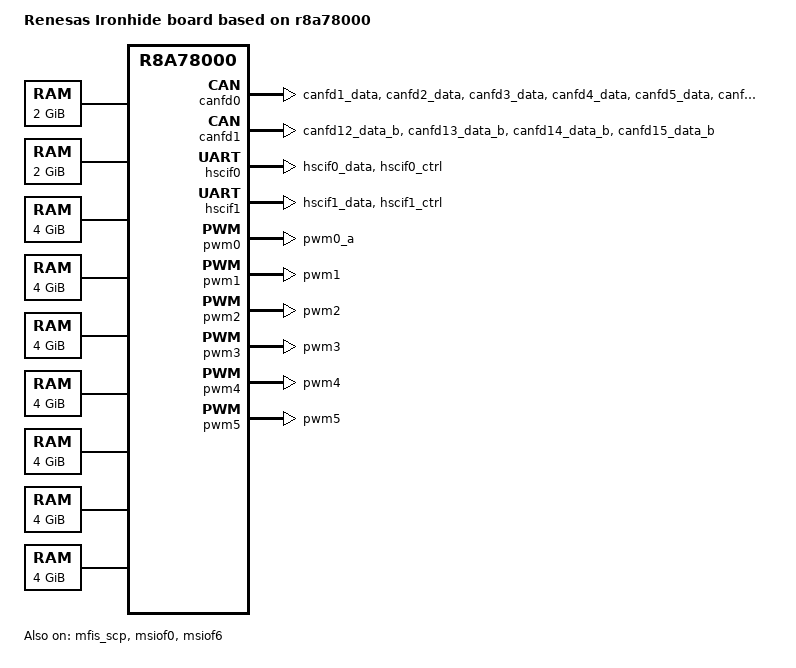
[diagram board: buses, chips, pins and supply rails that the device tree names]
// SPDX-License-Identifier: (GPL-2.0-only OR BSD-2-Clause)
/*
 * Device Tree Source for the Ironhide board
 *
 * Copyright (C) 2025 Renesas Electronics Corp.
 */

/dts-v1/;
#include <dt-bindings/soc/renesas,r8a78000-mfis.h>
#include "r8a78000.dtsi"

/ {
	model = "Renesas Ironhide board based on r8a78000";
	compatible = "renesas,ironhide", "renesas,r8a78000";

	aliases {
		serial0 = &hscif0;
		serial1 = &hscif1;
	};

	chosen {
		stdout-path = "serial0:1843200n8";
	};

	firmware {
		scmi: scmi {
			compatible = "arm,scmi";
			mboxes = <&mfis_scp 2 MFIS_CHANNEL_TX>,
				 <&mfis_scp 2 MFIS_CHANNEL_RX>;
			mbox-names = "tx", "rx";
			shmem = <&scmi_tx_shmem>, <&scmi_rx_shmem>;
			arm,no-completion-irq;
			#address-cells = <1>;
			#size-cells = <0>;

			scmi_devpd: protocol@11 {
				reg = <0x11>;
				#power-domain-cells = <1>;
			};

			scmi_sys: protocol@12 {
				reg = <0x12>;
			};

			scmi_clk: protocol@14 {
				reg = <0x14>;
				#clock-cells = <1>;
			};

			scmi_reset: protocol@16 {
				reg = <0x16>;
				#reset-cells = <1>;
			};
		};
	};

	memory@40000000 {
		device_type = "memory";
		reg = <0x0 0x40000000 0x0 0x80000000>;
	};

	memory@1080000000 {
		device_type = "memory";
		reg = <0x10 0x80000000 0x0 0x80000000>;
	};

	memory@1200000000 {
		device_type = "memory";
		reg = <0x12 0x00000000 0x1 0x00000000>;
	};

	memory@1400000000 {
		device_type = "memory";
		reg = <0x14 0x00000000 0x1 0x00000000>;
	};

	memory@1600000000 {
		device_type = "memory";
		reg = <0x16 0x00000000 0x1 0x00000000>;
	};

	memory@1800000000 {
		device_type = "memory";
		reg = <0x18 0x00000000 0x1 0x00000000>;
	};

	memory@1a00000000 {
		device_type = "memory";
		reg = <0x1a 0x00000000 0x1 0x00000000>;
	};

	memory@1c00000000 {
		device_type = "memory";
		reg = <0x1c 0x00000000 0x1 0x00000000>;
	};

	memory@1e00000000 {
		device_type = "memory";
		reg = <0x1e 0x00000000 0x1 0x00000000>;
	};

	reserved-memory {
		#address-cells = <2>;
		#size-cells = <2>;
		ranges;

		/* First 518 MiB is reserved for other purposes. */
		firmware@40000000 {
			reg = <0x0 0x40000000 0x0 0x20600000>;
			no-map;
		};

		/* Parameters set by IPL. */
		parameters@8c100000 {
			reg = <0x0 0x8c100000 0x0 0x00008000>;
			no-map;
		};

		/* TFA BL31. */
		tfa-bl31@8c200000 {
			reg = <0x0 0x8c200000 0x0 0x00080000>;
			no-map;
		};

		/* TEE TZ DRAM. */
		tee@8c400000 {
			reg = <0x0 0x8c400000 0x0 0x02000000>;
			no-map;
		};

		/* DRAM controller inline ECC areas */
		ecc@10cccc0000 {
			reg = <0x10 0xcccc0000 0x0 0x33340000>;
			no-map;
		};

		ecc@12cccc0000 {
			reg = <0x12 0xcccc0000 0x0 0x33340000>;
			no-map;
		};

		ecc@14cccc0000 {
			reg = <0x14 0xcccc0000 0x0 0x33340000>;
			no-map;
		};

		ecc@16cccc0000 {
			reg = <0x16 0xcccc0000 0x0 0x33340000>;
			no-map;
		};

		ecc@18cccc0000 {
			reg = <0x18 0xcccc0000 0x0 0x33340000>;
			no-map;
		};

		ecc@1acccc0000 {
			reg = <0x1a 0xcccc0000 0x0 0x33340000>;
			no-map;
		};

		ecc@1ccccc0000 {
			reg = <0x1c 0xcccc0000 0x0 0x33340000>;
			no-map;
		};

		ecc@1ecccc0000 {
			reg = <0x1e 0xcccc0000 0x0 0x33340000>;
			no-map;
		};
	};
};

&can_clk {
	clock-frequency = <40000000>;
};

&canfd0 {
	pinctrl-0 = <&canfd1_pins>,  <&canfd2_pins>, <&canfd3_pins>,
		    <&canfd4_pins>, <&canfd5_pins>, <&canfd6_pins>;
	pinctrl-names = "default";

	status = "okay";

	channel1 {
		status = "okay";
	};

	channel2 {
		status = "okay";
	};

	channel3 {
		status = "okay";
	};

	channel4 {
		status = "okay";
	};

	channel5 {
		status = "okay";
	};

	channel6 {
		status = "okay";
	};
};

&canfd1 {
	pinctrl-0 = <&canfd12_pins>, <&canfd13_pins>,  <&canfd14_pins>,
		    <&canfd15_pins>;
	pinctrl-names = "default";

	status = "okay";

	channel4 {
		status = "okay";
	};

	channel5 {
		status = "okay";
	};

	channel6 {
		status = "okay";
	};

	channel7 {
		status = "okay";
	};
};

&extal_clk {
	clock-frequency = <16666600>;
};

&extalr_clk {
	clock-frequency = <32768>;
};

&hscif0 {
	pinctrl-0 = <&hscif0_pins>;
	pinctrl-names = "default";

	uart-has-rtscts;
	status = "okay";
};

&hscif1 {
	pinctrl-0 = <&hscif1_pins>;
	pinctrl-names = "default";

	uart-has-rtscts;
	status = "okay";
};

&mfis_scp {
	status = "okay";
};

&msiof0 {
	pinctrl-0 = <&msiof0_pins>;
	pinctrl-names = "default";

	status = "okay";
};

&msiof6 {
	pinctrl-0 = <&msiof6_pins>;
	pinctrl-names = "default";

	status = "okay";	// Mutually-exclusive with MAX96726A U136
};

&pfc {
	pinctrl-0 = <&can_clk_pins>, <&scif_clk_pins>;
	pinctrl-names = "default";

	can_clk_pins: can-clk {
		groups = "can_clk";
		function = "can_clk";
	};

	canfd1_pins: canfd1 {
		groups = "canfd1_data";
		function = "canfd1";
	};

	canfd2_pins: canfd2 {
		groups = "canfd2_data";
		function = "canfd2";
	};

	canfd3_pins: canfd3 {
		groups = "canfd3_data";
		function = "canfd3";
	};

	canfd4_pins: canfd4 {
		groups = "canfd4_data";
		function = "canfd4";
	};

	canfd5_pins: canfd5 {
		groups = "canfd5_data";
		function = "canfd5";
	};

	canfd6_pins: canfd6 {
		groups = "canfd6_data";
		function = "canfd6";
	};

	canfd12_pins: canfd12 {
		groups = "canfd12_data_b";
		function = "canfd12";
	};

	canfd13_pins: canfd13 {
		groups = "canfd13_data_b";
		function = "canfd13";
	};

	canfd14_pins: canfd14 {
		groups = "canfd14_data_b";
		function = "canfd14";
	};

	canfd15_pins: canfd15 {
		groups = "canfd15_data_b";
		function = "canfd15";
	};

	hscif0_pins: hscif0 {
		groups = "hscif0_data", "hscif0_ctrl";
		function = "hscif0";
	};

	hscif1_pins: hscif1 {
		groups = "hscif1_data", "hscif1_ctrl";
		function = "hscif1";
	};

	// MSIOF0 PIN HEADER (CN71)
	msiof0_pins: msiof0 {
		groups = "msiof0_clk", "msiof0_sync", "msiof0_txd", "msiof0_rxd", "msiof0_ss1",
			 "msiof0_ss2";
		function = "msiof0";
	};

	// MSIOF6_A PIN HEADER (CN72)
	msiof6_pins: msiof6 {
		groups = "msiof6_clk_a", "msiof6_txd_a", "msiof6_rxd_a", "msiof6_ss1_a",
			 "msiof6_ss2_a";
		function = "msiof6";
	};

	pwm0_pins: pwm0 {
		groups = "pwm0_a";
		function = "pwm0";
	};

	pwm1_pins: pwm1 {
		groups = "pwm1";
		function = "pwm1";
	};

	pwm2_pins: pwm2 {
		groups = "pwm2";
		function = "pwm2";
	};

	pwm3_pins: pwm3 {
		groups = "pwm3";
		function = "pwm3";
	};

	pwm4_pins: pwm4 {
		groups = "pwm4";
		function = "pwm4";
	};

	pwm5_pins: pwm5 {
		groups = "pwm5";
		function = "pwm5";
	};

	scif_clk_pins: scif-clk {
		groups = "scif_clk";
		function = "scif_clk";
	};

	tpu_pins: tpu {
		groups = "tpu_to0", "tpu_to1";
		function = "tpu";
	};
};

&pwm0 {
	pinctrl-0 = <&pwm0_pins>;
	pinctrl-names = "default";

	status = "okay";
};

&pwm1 {
	pinctrl-0 = <&pwm1_pins>;
	pinctrl-names = "default";

	status = "okay";
};

&pwm2 {
	pinctrl-0 = <&pwm2_pins>;
	pinctrl-names = "default";

	status = "okay";
};

&pwm3 {
	pinctrl-0 = <&pwm3_pins>;
	pinctrl-names = "default";

	status = "okay";
};

&pwm4 {
	pinctrl-0 = <&pwm4_pins>;
	pinctrl-names = "default";

	status = "okay";
};

&pwm5 {
	pinctrl-0 = <&pwm5_pins>;
	pinctrl-names = "default";

	status = "okay";
};

&scif_clk {
	clock-frequency = <26000000>;
};

&stcm_transport {
	scmi_tx_shmem: sram@1200 {
		compatible = "arm,scmi-shmem";
		reg = <0x1200 0x0100>;
	};

	scmi_rx_shmem: sram@1300 {
		compatible = "arm,scmi-shmem";
		reg = <0x1300 0x100>;
	};
};

&tpu {
	pinctrl-0 = <&tpu_pins>;
	pinctrl-names = "default";

	//status = "okay";	// Mutually-exclusive with pwm4 and pwm5
};
